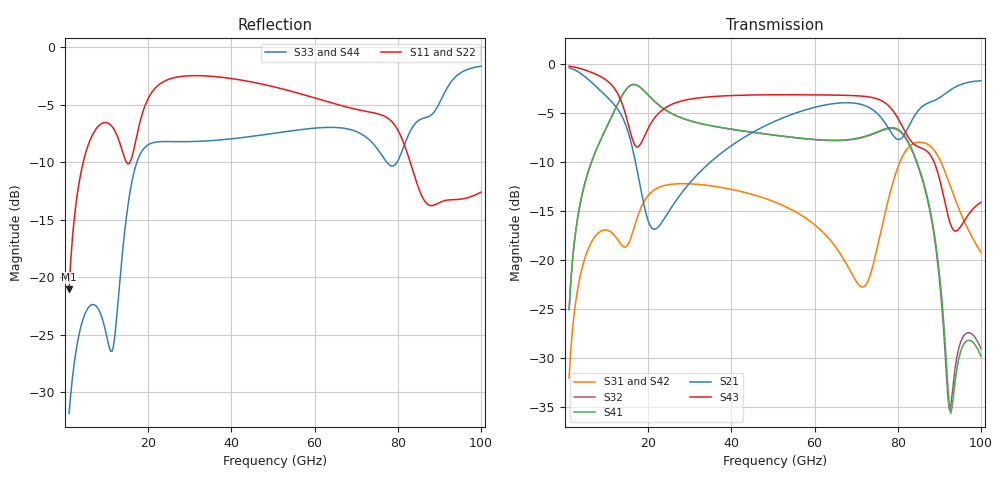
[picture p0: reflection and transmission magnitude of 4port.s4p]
# GHZ S RI R 50
! symmetric planar interleaved trafo
! outer diameter (D)  = 199.483um
! conductor width (w)  = 3.368um
! conductor spacing (s)  = 1.8um
! primary side windings (N)  = 2
! secondary side windings (M) = 1
! polygonal edges (p)  = 8
! freq ReS11 ImS11 ReS12 ImS12 ReS13 ImS13 ReS14 ImS14
! ReS21 ImS21 ReS22 ImS22 ReS23 ImS23 ReS24 ImS24
! ReS31 ImS31 ReS32 ImS32 ReS33 ImS33 ReS34 ImS34
! ReS41 ImS41 ReS42 ImS42 ReS43 ImS43 ReS44 ImS44
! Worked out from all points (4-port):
!   250 points, 1 GHz to 100 GHz, reference 50 ohm
!   strongest paths, dB at 1 GHz, 23.88 GHz, 49.26 GHz, 74.84 GHz, 100 GHz:
!     S43: -0.2, -4.5, -3.1, -3.5, -14.1
!     S21: -0.3, -15.8, -6.0, -4.9, -1.7
!     S41: -25.1, -4.6, -7.2, -6.9, -29.8
!     S32: -25.1, -4.6, -7.2, -7.0, -29.0
!     S31: -32.0, -12.4, -13.9, -19.2, -19.2
!     S42: -32.0, -12.4, -13.9, -19.4, -19.5
!   lowest |S11| = -21.1 dB at 1 GHz (marker M1), VSWR 1.19, Z = 53.9 + j8.36 ohm
!   |S11| at or under -10 dB: start of sweep to 4.39 GHz; 14.81 GHz to 15.61 GHz (801.2 MHz wide, 5.27 % of centre); 83.02 GHz to end of sweep
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1  0.0439 0.0769  0.9547 -0.1151  -0.00511 -0.0245  0.00634 0.0555
   0.9547 -0.1151  0.0439 0.0769  0.00633 0.0555  -0.00512 -0.0245
   -0.00511 -0.0245  0.00633 0.0555  0.0202 0.0157  0.9786 -0.0504
   0.00634 0.0555  -0.00512 -0.0245  0.9786 -0.0504  0.0202 0.0157
16.8125  0.2935 0.2374  -0.2647 -0.1937  0.1254 -0.0844  0.7877 -0.0452
         -0.2647 -0.1937  0.2915 0.2376  0.7881 -0.0446  0.1266 -0.0841
         0.1254 -0.0844  0.7881 -0.0446  -0.211 0.2081  0.3426 -0.1799
         0.7877 -0.0452  0.1266 -0.0841  0.3426 -0.1799  -0.2115 0.2078
38.125  0.714 -0.1946  0.2193 0.2848  -0.2145 0.094  0.2471 -0.4042
        0.2193 0.2848  0.715 -0.1923  0.2477 -0.4034  -0.2141 0.0934
        -0.2145 0.094  0.2477 -0.4034  0.2828 0.2788  0.654 -0.2218
        0.2471 -0.4042  -0.2141 0.0934  0.654 -0.2218  0.2831 0.2783
71.5375  0.085 -0.524  0.6194 0.0584  -0.0427 0.059  -0.205 -0.3728
         0.6194 0.0584  0.0913 -0.5255  -0.2015 -0.3721  -0.042 0.0559
         -0.0427 0.059  -0.2015 -0.3721  0.3917 0.1441  0.3338 -0.6023
         -0.205 -0.3728  -0.042 0.0559  0.3338 -0.6023  0.3895 0.1395
80.6125  -0.327 -0.2585  0.4054 0.0879  -0.227 0.2262  -0.4518 -0.0683
         0.4054 0.0879  -0.3258 -0.2681  -0.4468 -0.0722  -0.2306 0.2205
         -0.227 0.2262  -0.4468 -0.0722  0.2332 0.2448  -0.0159 -0.5047
         -0.4518 -0.0683  -0.2306 0.2205  -0.0159 -0.5047  0.2257 0.2425
92.4375  -0.1094 0.1875  0.719 0.1501  0.2127 0.1238  0.0175 -0.00248
         0.719 0.1501  -0.1104 0.1899  0.0156 -0.00716  0.2076 0.1225
         0.2127 0.1238  0.0156 -0.00716  0.4761 0.5019  -0.0291 -0.1562
         0.0175 -0.00248  0.2076 0.1225  -0.0291 -0.1562  0.475 0.5051
100  0.0434 0.2303  0.8234 -0.0625  0.1028 0.0389  -0.0264 -0.0185
     0.8234 -0.0625  0.0447 0.2308  -0.0289 -0.0203  0.0983 0.0402
     0.1028 0.0389  -0.0289 -0.0203  0.7439 0.3657  0.0918 -0.1746
     -0.0264 -0.0185  0.0983 0.0402  0.0918 -0.1746  0.7446 0.3667
